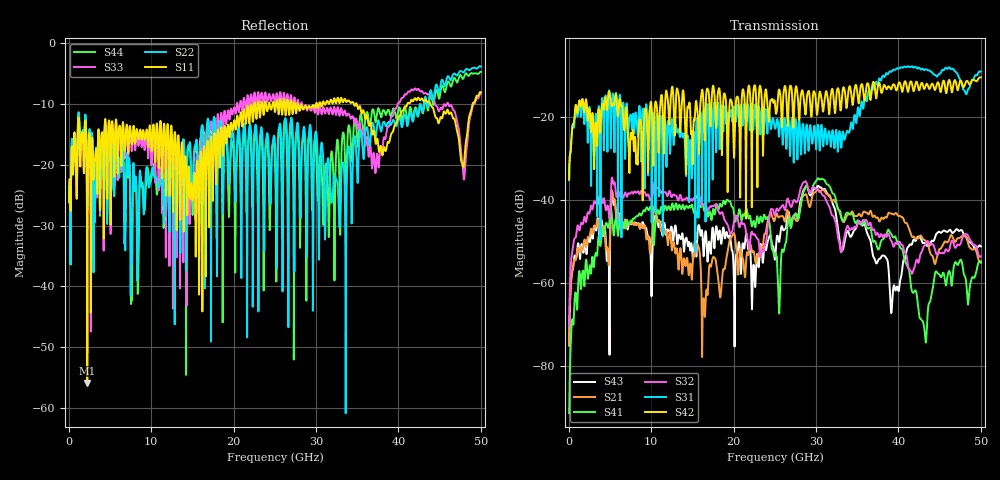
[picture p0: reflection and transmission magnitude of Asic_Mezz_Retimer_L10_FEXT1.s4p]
! Created Fri Jun 28 09:26:28 2019
# hz S ma R 50
! 4 Port Network Data from SP1.SP block
! freq  magS11  angS11  magS12  angS12  magS13  angS13  magS14  angS14
!  magS21  angS21  magS22  angS22  magS23  angS23  magS24  angS24
!  magS31  angS31  magS32  angS32  magS33  angS33  magS34  angS34
!  magS41  angS41  magS42  angS42  magS43  angS43  magS44  angS44
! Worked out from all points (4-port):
!   4996 points, 50 MHz to 50 GHz, reference 50 ohm
!   strongest paths, dB at 50 MHz, 12.54 GHz, 25.03 GHz, 37.52 GHz, 50 GHz:
!     S42: -35.1, -12.8, -17.0, -12.5, -10.5
!     S31: -35.3, -20.7, -22.8, -11.9, -9.1
!     S32: -70.4, -39.3, -43.7, -48.2, -53.6
!     S41: -91.5, -40.9, -53.2, -51.9, -55.2
!     S21: -75.1, -52.2, -44.6, -44.4, -54.8
!     S43: -75.1, -47.3, -54.4, -54.7, -51.2
!   lowest |S11| = -55.9 dB at 2.25 GHz (marker M1), VSWR 1.00, Z = 50.1 + j0.112 ohm
!   |S11| at or under -10 dB: start of sweep to 22.5 GHz; 34.94 GHz to 41.07 GHz (6.128 GHz wide, 16.1 % of centre); 43.89 GHz to 48.99 GHz (5.104 GHz wide, 11 % of centre)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
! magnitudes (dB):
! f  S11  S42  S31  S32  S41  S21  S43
! 50 MHz  -26.0  -35.1  -35.3  -70.4  -91.5  -75.1  -75.1
! 2.25 GHz  -55.9  -19.7  -21.8  -43.6  -57.4  -49.6  -51.1
! 16.36 GHz  -18.1  -17.7  -18.1  -41.1  -42.1  -63.9  -53.5
! 25.51 GHz  -11.3  -13.5  -24.8  -42.5  -66.9  -44.2  -50.2
! 30.4 GHz  -9.8  -14.3  -26.6  -38.1  -35.1  -38.0  -36.9
! 43.23 GHz  -9.3  -13.0  -8.6  -51.0  -73.0  -49.8  -50.5
! 50 GHz  -8.0  -10.5  -9.1  -53.6  -55.2  -54.8  -51.2
